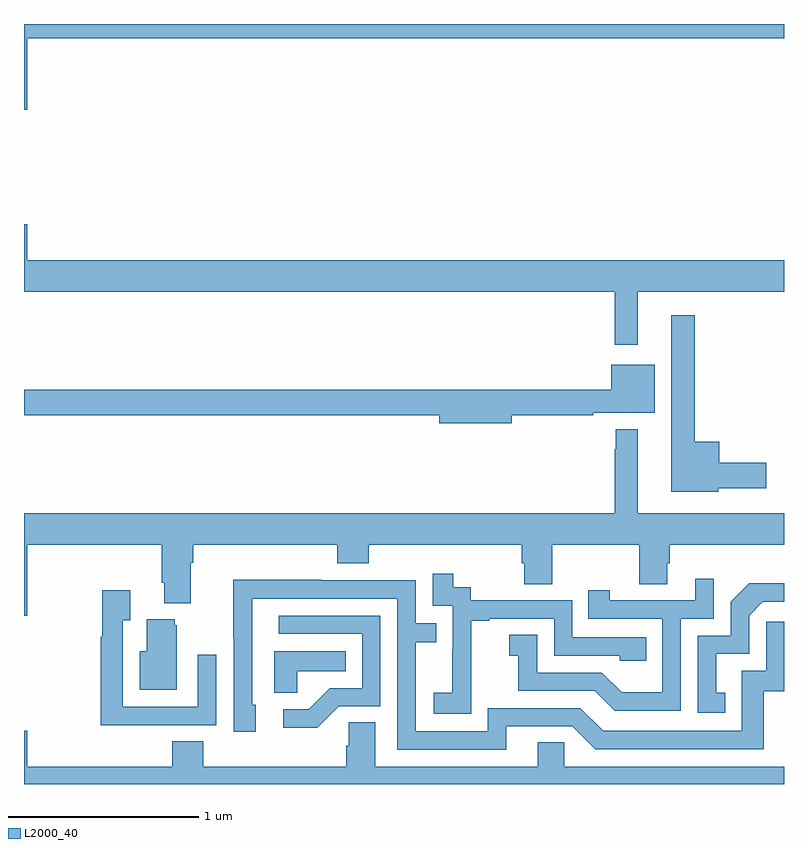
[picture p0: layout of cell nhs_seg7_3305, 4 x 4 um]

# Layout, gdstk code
import gdstk
lib = gdstk.Library(unit=1e-6, precision=1e-09)
def P(c, l, *ps):  # polygons
    for p in ps: c.add(gdstk.Polygon(p, *l))
L2000_40 = (2000, 40)

nhs_seg7_3305 = lib.new_cell('nhs_seg7_3305')
P(nhs_seg7_3305, L2000_40, [(321.016,1025.924),(325,1025.924),(325,1026),(321,1026),(321,1025.55),(321.016,1025.55)],
  [(324.229,1024.592),(325,1024.592),(325,1024.756),(321.016,1024.756),(321.016,1024.945),(321,1024.945),(321,1024.592),(324.108,1024.592),(324.108,1024.311),(324.229,1024.311)],
  [(324.654,1023.557),(324.907,1023.557),(324.907,1023.692),(324.658,1023.692),(324.658,1023.802),(324.529,1023.802),(324.529,1024.468),(324.407,1024.468),(324.407,1023.539),(324.654,1023.539)],
  [(323.566,1023.94),(323.996,1023.94),(323.996,1023.953),(324.319,1023.953),(324.319,1024.207),(324.092,1024.207),(324.092,1024.076),(321,1024.076),(321,1023.94),(323.186,1023.94),(323.186,1023.898),(323.566,1023.898)],
  [(321.016,1023.26),(321.725,1023.26),(321.725,1023.058),(321.737,1023.058),(321.737,1022.951),(321.877,1022.951),(321.877,1023.164),(321.89,1023.164),(321.89,1023.26),(322.649,1023.26),(322.649,1023.161),(322.814,1023.161),(322.814,1023.26),(323.621,1023.26),(323.621,1023.162),(323.633,1023.162),(323.633,1023.052),(323.781,1023.052),(323.781,1023.26),(324.238,1023.26),(324.238,1023.052),(324.385,1023.052),(324.385,1023.162),(324.398,1023.162),(324.398,1023.26),(325,1023.26),(325,1023.424),(324.229,1023.424),(324.229,1023.868),(324.114,1023.868),(324.114,1023.761),(324.108,1023.761),(324.108,1023.424),(321,1023.424),(321,1022.886),(321.016,1022.886)],
  [(323.355,1022.575),(323.354,1022.575),(323.354,1022.859),(323.449,1022.859),(323.449,1022.871),(323.79,1022.871),(323.79,1022.676),(324.135,1022.676),(324.135,1022.649),(324.275,1022.649),(324.275,1022.772),(323.886,1022.772),(323.886,1022.967),(323.352,1022.967),(323.352,1023.036),(323.26,1023.036),(323.26,1023.106),(323.151,1023.106),(323.151,1022.937),(323.256,1022.937),(323.256,1022.708),(323.255,1022.708),(323.255,1022.479),(323.157,1022.479),(323.157,1022.369),(323.355,1022.369)],
  [(324.456,1022.871),(324.63,1022.871),(324.63,1023.079),(324.533,1023.079),(324.533,1022.967),(324.082,1022.967),(324.082,1023.019),(323.971,1023.019),(323.971,1022.871),(324.36,1022.871),(324.36,1022.482),(324.146,1022.482),(324.042,1022.586),(323.7,1022.586),(323.7,1022.785),(323.553,1022.785),(323.553,1022.675),(323.602,1022.675),(323.602,1022.49),(324.005,1022.49),(324.11,1022.385),(324.456,1022.385)],
  [(323.539,1022.304),(323.886,1022.304),(324.006,1022.184),(324.893,1022.184),(324.893,1022.487),(325,1022.487),(325,1022.854),(324.906,1022.854),(324.906,1022.595),(324.777,1022.595),(324.777,1022.28),(324.048,1022.28),(323.928,1022.4),(323.442,1022.4),(323.442,1022.277),(323.061,1022.277),(323.061,1022.746),(323.171,1022.746),(323.171,1022.847),(323.061,1022.847),(323.061,1023.072),(322.565,1023.072),(322.565,1023.074),(322.102,1023.074),(322.102,1022.767),(322.104,1022.767),(322.104,1022.274),(322.219,1022.274),(322.219,1022.418),(322.2,1022.418),(322.2,1022.976),(322.965,1022.976),(322.965,1022.181),(323.539,1022.181)],
  [(324.692,1022.481),(324.643,1022.481),(324.643,1022.685),(324.816,1022.685),(324.816,1022.886),(324.888,1022.958),(325,1022.958),(325,1023.056),(324.818,1023.056),(324.72,1022.958),(324.72,1022.781),(324.546,1022.781),(324.546,1022.376),(324.692,1022.376)],
  [(321.695,1022.31),(322.011,1022.31),(322.011,1022.68),(321.915,1022.68),(321.915,1022.406),(321.519,1022.406),(321.519,1022.863),(321.559,1022.863),(321.559,1023.019),(321.411,1023.019),(321.411,1022.774),(321.403,1022.774),(321.403,1022.309),(321.695,1022.309)],
  [(322.656,1022.409),(322.875,1022.409),(322.875,1022.886),(322.341,1022.886),(322.341,1022.79),(322.779,1022.79),(322.779,1022.505),(322.61,1022.505),(322.499,1022.394),(322.365,1022.394),(322.365,1022.297),(322.543,1022.297)],
  [(321.805,1022.835),(321.794,1022.835),(321.794,1022.866),(321.647,1022.866),(321.647,1022.698),(321.608,1022.698),(321.608,1022.495),(321.805,1022.495)],
  [(322.437,1022.594),(322.694,1022.594),(322.694,1022.698),(322.316,1022.698),(322.316,1022.479),(322.437,1022.479)],
  [(325,1022.092),(323.844,1022.092),(323.844,1022.219),(323.705,1022.219),(323.705,1022.092),(322.849,1022.092),(322.849,1022.324),(322.71,1022.324),(322.71,1022.201),(322.697,1022.201),(322.697,1022.092),(321.944,1022.092),(321.944,1022.225),(321.779,1022.225),(321.779,1022.092),(321.016,1022.092),(321.016,1022.281),(321,1022.281),(321,1022),(325,1022)])

lib.write_gds('nhs_seg7_3305.gds')
